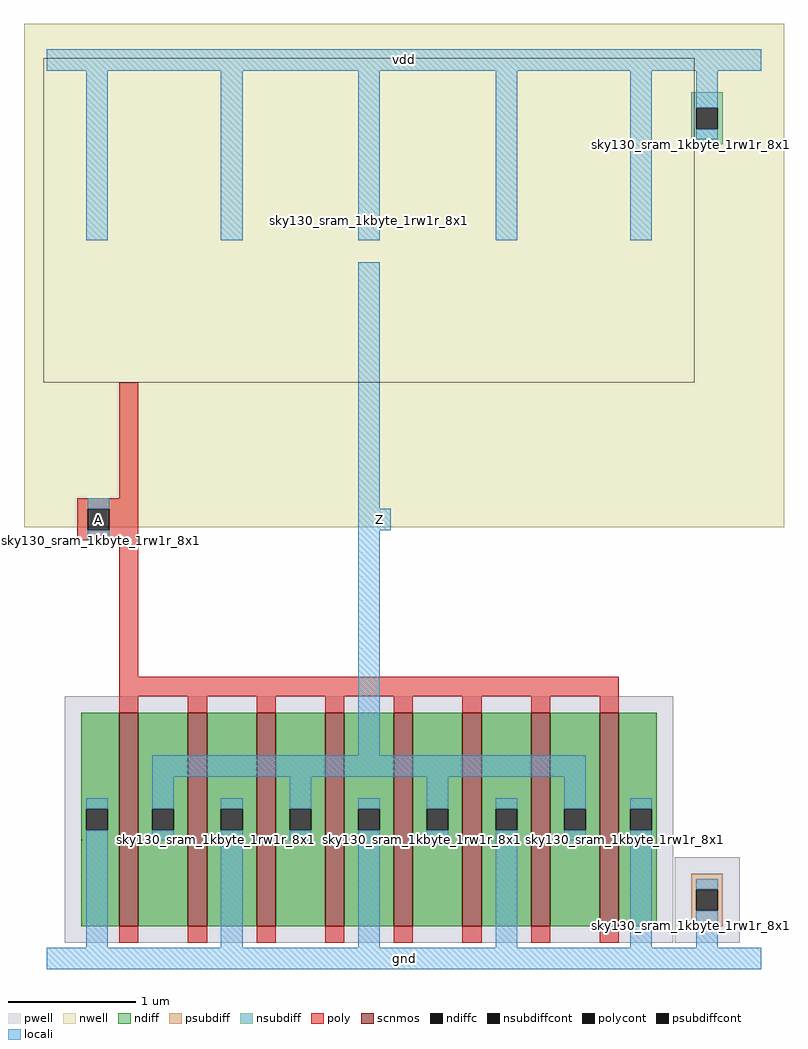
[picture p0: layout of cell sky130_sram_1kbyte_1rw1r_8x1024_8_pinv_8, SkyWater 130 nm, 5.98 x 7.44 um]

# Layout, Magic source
magic
tech sky130A
magscale 1 2
<< nwell >>
rect -36 679 1160 1471
<< pwell >>
rect 988 25 1090 159
<< psubdiff >>
rect 1014 109 1064 133
rect 1014 75 1022 109
rect 1056 75 1064 109
rect 1014 51 1064 75
<< nsubdiff >>
rect 1014 1339 1064 1363
rect 1014 1305 1022 1339
rect 1056 1305 1064 1339
rect 1014 1281 1064 1305
<< psubdiffcont >>
rect 1022 75 1056 109
<< nsubdiffcont >>
rect 1022 1305 1056 1339
<< poly >>
rect 114 724 144 907
rect 48 708 144 724
rect 48 674 64 708
rect 98 674 144 708
rect 48 658 144 674
rect 114 443 144 658
<< polycont >>
rect 64 674 98 708
<< locali >>
rect 0 1397 1124 1431
rect 62 1130 96 1397
rect 274 1130 308 1397
rect 490 1130 524 1397
rect 706 1130 740 1397
rect 918 1130 952 1397
rect 1022 1339 1056 1397
rect 1022 1289 1056 1305
rect 64 708 98 724
rect 64 658 98 674
rect 490 708 524 1096
rect 490 674 541 708
rect 490 286 524 674
rect 62 17 96 186
rect 274 17 308 186
rect 490 17 524 186
rect 706 17 740 186
rect 918 17 952 186
rect 1022 109 1056 125
rect 1022 17 1056 75
rect 0 -17 1124 17
use sky130_sram_1kbyte_1rw1r_8x1024_8_contact_16  sky130_sram_1kbyte_1rw1r_8x1024_8_contact_16_0
transform 1 0 48 0 1 658
box 0 0 1 1
use sky130_sram_1kbyte_1rw1r_8x1024_8_contact_29  sky130_sram_1kbyte_1rw1r_8x1024_8_contact_29_0
transform 1 0 1014 0 1 51
box 0 0 1 1
use sky130_sram_1kbyte_1rw1r_8x1024_8_contact_28  sky130_sram_1kbyte_1rw1r_8x1024_8_contact_28_0
transform 1 0 1014 0 1 1281
box 0 0 1 1
use sky130_sram_1kbyte_1rw1r_8x1024_8_nmos_m8_w1_680_sli_dli_da_p  sky130_sram_1kbyte_1rw1r_8x1024_8_nmos_m8_w1_680_sli_dli_da_p_0
transform 1 0 54 0 1 51
box -26 -26 932 392
use sky130_sram_1kbyte_1rw1r_8x1024_8_pmos_m8_w2_000_sli_dli_da_p  sky130_sram_1kbyte_1rw1r_8x1024_8_pmos_m8_w2_000_sli_dli_da_p_0
transform 1 0 54 0 1 963
box -59 -56 965 454
<< labels >>
rlabel locali s 81 691 81 691 4 A
port 1 nsew
rlabel locali s 524 691 524 691 4 Z
port 2 nsew
rlabel locali s 562 0 562 0 4 gnd
port 3 nsew
rlabel locali s 562 1414 562 1414 4 vdd
port 4 nsew
<< properties >>
string FIXED_BBOX 0 0 1124 1414
string GDS_FILE $PDKPATH/libs.ref/sky130_sram_macros/gds/sky130_sram_1kbyte_1rw1r_8x1024_8.gds
string GDS_END 342430
string GDS_START 340048
<< end >>

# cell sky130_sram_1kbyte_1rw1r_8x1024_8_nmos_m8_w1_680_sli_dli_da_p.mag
magic
tech sky130A
magscale 1 2
<< pwell >>
rect -26 -26 932 362
<< scnmos >>
rect 60 0 90 336
rect 168 0 198 336
rect 276 0 306 336
rect 384 0 414 336
rect 492 0 522 336
rect 600 0 630 336
rect 708 0 738 336
rect 816 0 846 336
<< ndiff >>
rect 0 185 60 336
rect 0 151 8 185
rect 42 151 60 185
rect 0 0 60 151
rect 90 185 168 336
rect 90 151 112 185
rect 146 151 168 185
rect 90 0 168 151
rect 198 185 276 336
rect 198 151 220 185
rect 254 151 276 185
rect 198 0 276 151
rect 306 185 384 336
rect 306 151 328 185
rect 362 151 384 185
rect 306 0 384 151
rect 414 185 492 336
rect 414 151 436 185
rect 470 151 492 185
rect 414 0 492 151
rect 522 185 600 336
rect 522 151 544 185
rect 578 151 600 185
rect 522 0 600 151
rect 630 185 708 336
rect 630 151 652 185
rect 686 151 708 185
rect 630 0 708 151
rect 738 185 816 336
rect 738 151 760 185
rect 794 151 816 185
rect 738 0 816 151
rect 846 185 906 336
rect 846 151 864 185
rect 898 151 906 185
rect 846 0 906 151
<< ndiffc >>
rect 8 151 42 185
rect 112 151 146 185
rect 220 151 254 185
rect 328 151 362 185
rect 436 151 470 185
rect 544 151 578 185
rect 652 151 686 185
rect 760 151 794 185
rect 864 151 898 185
<< poly >>
rect 60 362 846 392
rect 60 336 90 362
rect 168 336 198 362
rect 276 336 306 362
rect 384 336 414 362
rect 492 336 522 362
rect 600 336 630 362
rect 708 336 738 362
rect 816 336 846 362
rect 60 -26 90 0
rect 168 -26 198 0
rect 276 -26 306 0
rect 384 -26 414 0
rect 492 -26 522 0
rect 600 -26 630 0
rect 708 -26 738 0
rect 816 -26 846 0
<< locali >>
rect 112 235 794 269
rect 8 185 42 201
rect 8 135 42 151
rect 112 185 146 235
rect 112 135 146 151
rect 220 185 254 201
rect 220 135 254 151
rect 328 185 362 235
rect 328 135 362 151
rect 436 185 470 201
rect 436 135 470 151
rect 544 185 578 235
rect 544 135 578 151
rect 652 185 686 201
rect 652 135 686 151
rect 760 185 794 235
rect 760 135 794 151
rect 864 185 898 201
rect 864 135 898 151
use sky130_sram_1kbyte_1rw1r_8x1024_8_contact_11  sky130_sram_1kbyte_1rw1r_8x1024_8_contact_11_0
transform 1 0 856 0 1 135
box 0 0 1 1
use sky130_sram_1kbyte_1rw1r_8x1024_8_contact_11  sky130_sram_1kbyte_1rw1r_8x1024_8_contact_11_1
transform 1 0 752 0 1 135
box 0 0 1 1
use sky130_sram_1kbyte_1rw1r_8x1024_8_contact_11  sky130_sram_1kbyte_1rw1r_8x1024_8_contact_11_2
transform 1 0 644 0 1 135
box 0 0 1 1
use sky130_sram_1kbyte_1rw1r_8x1024_8_contact_11  sky130_sram_1kbyte_1rw1r_8x1024_8_contact_11_3
transform 1 0 536 0 1 135
box 0 0 1 1
use sky130_sram_1kbyte_1rw1r_8x1024_8_contact_11  sky130_sram_1kbyte_1rw1r_8x1024_8_contact_11_4
transform 1 0 428 0 1 135
box 0 0 1 1
use sky130_sram_1kbyte_1rw1r_8x1024_8_contact_11  sky130_sram_1kbyte_1rw1r_8x1024_8_contact_11_5
transform 1 0 320 0 1 135
box 0 0 1 1
use sky130_sram_1kbyte_1rw1r_8x1024_8_contact_11  sky130_sram_1kbyte_1rw1r_8x1024_8_contact_11_6
transform 1 0 212 0 1 135
box 0 0 1 1
use sky130_sram_1kbyte_1rw1r_8x1024_8_contact_11  sky130_sram_1kbyte_1rw1r_8x1024_8_contact_11_7
transform 1 0 104 0 1 135
box 0 0 1 1
use sky130_sram_1kbyte_1rw1r_8x1024_8_contact_11  sky130_sram_1kbyte_1rw1r_8x1024_8_contact_11_8
transform 1 0 0 0 1 135
box 0 0 1 1
<< labels >>
rlabel locali s 25 168 25 168 4 S
port 1 nsew
rlabel locali s 669 168 669 168 4 S
port 1 nsew
rlabel locali s 881 168 881 168 4 S
port 1 nsew
rlabel locali s 453 168 453 168 4 S
port 1 nsew
rlabel locali s 237 168 237 168 4 S
port 1 nsew
rlabel locali s 453 252 453 252 4 D
port 2 nsew
rlabel poly s 453 377 453 377 4 G
port 3 nsew
<< properties >>
string FIXED_BBOX -25 -26 931 392
string GDS_FILE $PDKPATH/libs.ref/sky130_sram_macros/gds/sky130_sram_1kbyte_1rw1r_8x1024_8.gds
string GDS_END 119058
string GDS_START 116608
<< end >>
